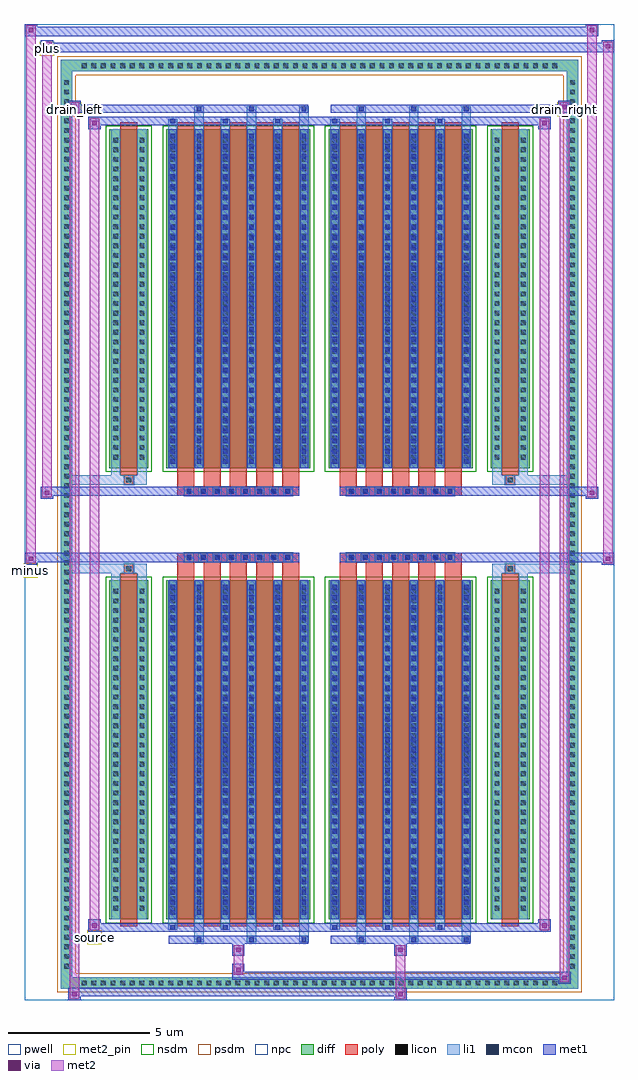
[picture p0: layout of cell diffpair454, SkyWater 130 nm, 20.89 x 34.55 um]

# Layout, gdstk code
import gdstk
lib = gdstk.Library(unit=1e-6, precision=5e-09)
def R(c, l, rs):  # rectangles x0, y0, x1, y1
    for r in rs: c.add(gdstk.rectangle(r[:2], r[2:], *l))
def A(c, l, x, y, w, h, nx, ny, dx, dy):  # array of equal rectangles
    R(c, l, [(x+i*dx, y+j*dy, x+i*dx+w, y+j*dy+h) for i in range(nx) for j in range(ny)])
def P(c, l, *ps):  # polygons
    for p in ps: c.add(gdstk.Polygon(p, *l))
pwell = (64, 44)
diff = (65, 20)
poly = (66, 20)
licon = (66, 44)
li1 = (67, 20)
mcon = (67, 44)
met1 = (68, 20)
via = (68, 44)
met2_pin = (69, 16)
met2 = (69, 20)
nsdm = (93, 44)
psdm = (94, 20)
npc = (95, 20)

diffpair454 = lib.new_cell('diffpair454')
R(diffpair454, pwell, [(-10.43,-16.84,10.43,17.71), (-7.75,-15.03,-0.01,-0.805), (0.01,-15.03,7.75,-0.805), (-7.75,0.805,-0.01,15.03), (0.01,0.805,7.75,15.03)])
A(diffpair454, diff, -8.535, -16.44, 0.41, 0.41, 50, 2, 0.34, 32.47)
A(diffpair454, diff, -9.16, -15.845, 0.41, 0.41, 1, 93, 0, 0.34)
A(diffpair454, diff, 8.75, -15.845, 0.41, 0.41, 1, 93, 0, 0.34)
R(diffpair454, diff, [(-8.535,-16.44,8.535,-16.03), (-9.16,-15.845,-8.75,15.845), (8.75,-15.845,9.16,15.845), (-7.44,-13.985,-6.06,-1.985), (-5.42,-13.985,-0.32,-1.985), (0.32,-13.985,5.42,-1.985), (6.06,-13.985,7.44,-1.985), (-7.44,1.985,-6.06,13.985), (-5.42,1.985,-0.32,13.985), (0.32,1.985,5.42,13.985), (6.06,1.985,7.44,13.985), (-8.535,16.03,8.535,16.44)])
P(diffpair454, diff, [(9.16,16.44),(-9.16,16.44),(-9.16,-16.03),(-8.75,-16.03),(-8.75,16.03),(8.75,16.03),(8.75,-16.03),(-8.75,-16.03),(-9.16,-16.03),(-9.16,-16.44),(9.16,-16.44)])
A(diffpair454, poly, -5.03, -14.235, 0.6, 12.5, 5, 2, 0.93, 15.97)
A(diffpair454, poly, 0.71, -14.235, 0.6, 12.5, 5, 2, 0.93, 15.97)
A(diffpair454, poly, -5.03, -1.735, 0.6, 0.4, 5, 2, 0.93, 3.07)
A(diffpair454, poly, 0.71, -1.735, 0.6, 0.4, 5, 2, 0.93, 3.07)
A(diffpair454, poly, -4.785, -1.335, 0.33, 0.33, 8, 2, 0.5, 2.34)
A(diffpair454, poly, 0.955, -1.335, 0.33, 0.33, 8, 2, 0.5, 2.34)
R(diffpair454, poly, [(-7.05,-14.235,-6.45,-1.735), (6.45,-14.235,7.05,-1.735), (-6.915,-1.735,-6.585,-1.405), (-6.915,-1.735,-6.585,-1.405), (6.585,-1.735,6.915,-1.405), (6.585,-1.735,6.915,-1.405), (-5.03,-1.335,-0.71,-1.005), (0.71,-1.335,5.03,-1.005), (-5.03,1.005,-0.71,1.335), (0.71,1.005,5.03,1.335), (-6.915,1.405,-6.585,1.735), (-6.915,1.405,-6.585,1.735), (6.585,1.405,6.915,1.735), (6.585,1.405,6.915,1.735), (-7.05,1.735,-6.45,14.235), (6.45,1.735,7.05,14.235)])
A(diffpair454, licon, -8.415, -16.32, 0.17, 0.17, 50, 2, 0.34, 32.47)
A(diffpair454, licon, -9.04, -15.725, 0.17, 0.17, 1, 93, 0, 0.34)
A(diffpair454, licon, 8.87, -15.725, 0.17, 0.17, 1, 93, 0, 0.34)
A(diffpair454, licon, -7.3, -13.68, 0.17, 0.17, 1, 34, 0, 0.34)
A(diffpair454, licon, -6.37, -13.68, 0.17, 0.17, 1, 34, 0, 0.34)
A(diffpair454, licon, -5.28, -13.68, 0.17, 0.17, 6, 34, 0.93, 0.34)
A(diffpair454, licon, 0.46, -13.68, 0.17, 0.17, 6, 34, 0.93, 0.34)
A(diffpair454, licon, 6.2, -13.68, 0.17, 0.17, 1, 34, 0, 0.34)
A(diffpair454, licon, 7.13, -13.68, 0.17, 0.17, 1, 34, 0, 0.34)
A(diffpair454, licon, -4.705, -1.255, 0.17, 0.17, 8, 2, 0.5, 2.34)
A(diffpair454, licon, 1.035, -1.255, 0.17, 0.17, 8, 2, 0.5, 2.34)
A(diffpair454, licon, -7.3, 2.29, 0.17, 0.17, 1, 34, 0, 0.34)
A(diffpair454, licon, -6.37, 2.29, 0.17, 0.17, 1, 34, 0, 0.34)
A(diffpair454, licon, -5.28, 2.29, 0.17, 0.17, 6, 34, 0.93, 0.34)
A(diffpair454, licon, 0.46, 2.29, 0.17, 0.17, 6, 34, 0.93, 0.34)
A(diffpair454, licon, 6.2, 2.29, 0.17, 0.17, 1, 34, 0, 0.34)
A(diffpair454, licon, 7.13, 2.29, 0.17, 0.17, 1, 34, 0, 0.34)
R(diffpair454, licon, [(-6.835,-1.655,-6.665,-1.485), (6.665,-1.655,6.835,-1.485), (-6.835,1.485,-6.665,1.655), (6.665,1.485,6.835,1.655)])
A(diffpair454, li1, -8.495, -16.4, 0.33, 0.33, 50, 2, 0.34, 32.47)
A(diffpair454, li1, -9.12, -15.805, 0.33, 0.33, 1, 93, 0, 0.34)
A(diffpair454, li1, 8.79, -15.805, 0.33, 0.33, 1, 93, 0, 0.34)
A(diffpair454, li1, -4.43, -14.79, 0.33, 0.805, 3, 2, 1.86, 28.775)
A(diffpair454, li1, -4.35, -14.79, 0.17, 0.17, 3, 2, 1.86, 29.41)
A(diffpair454, li1, 1.31, -14.79, 0.33, 0.805, 3, 2, 1.86, 28.775)
A(diffpair454, li1, 1.39, -14.79, 0.17, 0.17, 3, 2, 1.86, 29.41)
A(diffpair454, li1, -5.36, -14.36, 0.33, 0.375, 3, 2, 1.86, 28.345)
A(diffpair454, li1, -5.28, -14.36, 0.17, 0.17, 3, 2, 1.86, 28.55)
A(diffpair454, li1, 0.38, -14.36, 0.33, 0.375, 3, 2, 1.86, 28.345)
A(diffpair454, li1, 0.46, -14.36, 0.17, 0.17, 3, 2, 1.86, 28.55)
A(diffpair454, li1, -5.36, -13.985, 0.33, 12, 6, 2, 0.93, 15.97)
A(diffpair454, li1, 0.38, -13.985, 0.33, 12, 6, 2, 0.93, 15.97)
A(diffpair454, li1, -5.28, -13.83, 0.17, 0.17, 6, 33, 0.93, 0.36)
A(diffpair454, li1, -5.28, -13.83, 0.17, 11.69, 6, 2, 0.93, 15.97)
A(diffpair454, li1, 0.46, -13.83, 0.17, 0.17, 6, 33, 0.93, 0.36)
A(diffpair454, li1, 0.46, -13.83, 0.17, 11.69, 6, 2, 0.93, 15.97)
A(diffpair454, li1, -7.38, -13.76, 0.33, 0.33, 1, 34, 0, 0.34)
A(diffpair454, li1, -6.45, -13.76, 0.33, 0.33, 1, 34, 0, 0.34)
A(diffpair454, li1, -5.36, -13.76, 0.33, 0.33, 6, 34, 0.93, 0.34)
A(diffpair454, li1, 0.38, -13.76, 0.33, 0.33, 6, 34, 0.93, 0.34)
A(diffpair454, li1, 6.12, -13.76, 0.33, 0.33, 1, 34, 0, 0.34)
A(diffpair454, li1, 7.05, -13.76, 0.33, 0.33, 1, 34, 0, 0.34)
A(diffpair454, li1, -4.785, -1.335, 0.33, 0.33, 8, 2, 0.5, 2.34)
A(diffpair454, li1, 0.955, -1.335, 0.33, 0.33, 8, 2, 0.5, 2.34)
A(diffpair454, li1, -5.28, 2.14, 0.17, 0.17, 6, 33, 0.93, 0.36)
A(diffpair454, li1, 0.46, 2.14, 0.17, 0.17, 6, 33, 0.93, 0.36)
A(diffpair454, li1, -7.38, 2.21, 0.33, 0.33, 1, 34, 0, 0.34)
A(diffpair454, li1, -6.45, 2.21, 0.33, 0.33, 1, 34, 0, 0.34)
A(diffpair454, li1, -5.36, 2.21, 0.33, 0.33, 6, 34, 0.93, 0.34)
A(diffpair454, li1, 0.38, 2.21, 0.33, 0.33, 6, 34, 0.93, 0.34)
A(diffpair454, li1, 6.12, 2.21, 0.33, 0.33, 1, 34, 0, 0.34)
A(diffpair454, li1, 7.05, 2.21, 0.33, 0.33, 1, 34, 0, 0.34)
R(diffpair454, li1, [(-9.16,-16.44,-8.75,-16.03), (-9.16,-16.44,-8.75,-16.03), (-8.75,-16.44,8.75,-16.03), (8.75,-16.44,9.16,-16.03), (8.75,-16.44,9.16,-16.03), (-9.16,-16.03,-8.75,16.03), (8.75,-16.03,9.16,16.03), (-7.38,-13.985,-7.05,-1.985), (-6.45,-13.985,-6.12,-1.985), (6.12,-13.985,6.45,-1.985), (7.05,-13.985,7.38,-1.985), (-7.38,-1.985,-7.05,-1.405), (-6.45,-1.985,-6.12,-1.405), (6.12,-1.985,6.45,-1.405), (7.05,-1.985,7.38,-1.405), (-9.16,-1.735,-6.915,-1.405), (-7.38,-1.735,-6.915,-1.405), (-6.915,-1.735,-6.585,-1.405), (-6.585,-1.735,-6.12,-1.405), (6.12,-1.735,6.585,-1.405), (6.585,-1.735,6.915,-1.405), (6.585,-1.735,9.16,-1.405), (6.915,-1.735,7.38,-1.405), (-9.16,1.405,-6.915,1.735), (-7.38,1.405,-6.915,1.735), (-7.38,1.405,-7.05,1.985), (-6.915,1.405,-6.585,1.735), (-6.585,1.405,-6.12,1.735), (-6.45,1.405,-6.12,1.985), (6.12,1.405,6.585,1.735), (6.12,1.405,6.45,1.985), (6.585,1.405,6.915,1.735), (6.585,1.405,9.16,1.735), (6.915,1.405,7.38,1.735), (7.05,1.405,7.38,1.985), (-7.38,1.985,-7.05,13.985), (-6.45,1.985,-6.12,13.985), (6.12,1.985,6.45,13.985), (7.05,1.985,7.38,13.985), (-9.16,16.03,-8.75,16.44), (-9.16,16.03,-8.75,16.44), (-8.75,16.03,8.75,16.44), (8.75,16.03,9.16,16.44), (8.75,16.03,9.16,16.44)])
A(diffpair454, mcon, -4.35, -14.79, 0.17, 0.17, 3, 2, 1.86, 29.41)
A(diffpair454, mcon, 1.39, -14.79, 0.17, 0.17, 3, 2, 1.86, 29.41)
A(diffpair454, mcon, -5.28, -14.36, 0.17, 0.17, 3, 2, 1.86, 28.55)
A(diffpair454, mcon, 0.46, -14.36, 0.17, 0.17, 3, 2, 1.86, 28.55)
A(diffpair454, mcon, -5.28, -13.83, 0.17, 0.17, 6, 33, 0.93, 0.36)
A(diffpair454, mcon, 0.46, -13.83, 0.17, 0.17, 6, 33, 0.93, 0.36)
A(diffpair454, mcon, -4.705, -1.255, 0.17, 0.17, 8, 2, 0.5, 2.34)
A(diffpair454, mcon, 1.035, -1.255, 0.17, 0.17, 8, 2, 0.5, 2.34)
A(diffpair454, mcon, -5.28, 2.14, 0.17, 0.17, 6, 33, 0.93, 0.36)
A(diffpair454, mcon, 0.46, 2.14, 0.17, 0.17, 6, 33, 0.93, 0.36)
A(diffpair454, met1, -4.41, -14.85, 0.29, 0.29, 3, 2, 1.86, 29.41)
A(diffpair454, met1, 1.33, -14.85, 0.29, 0.29, 3, 2, 1.86, 29.41)
A(diffpair454, met1, -5.34, -14.42, 0.29, 0.29, 3, 2, 1.86, 28.55)
A(diffpair454, met1, 0.4, -14.42, 0.29, 0.29, 3, 2, 1.86, 28.55)
A(diffpair454, met1, -5.34, -13.985, 0.29, 12, 6, 2, 0.93, 15.97)
A(diffpair454, met1, 0.4, -13.985, 0.29, 12, 6, 2, 0.93, 15.97)
A(diffpair454, met1, -5.34, -13.89, 0.29, 0.29, 6, 33, 0.93, 0.36)
A(diffpair454, met1, 0.4, -13.89, 0.29, 0.29, 6, 33, 0.93, 0.36)
A(diffpair454, met1, -4.765, -1.315, 0.29, 0.29, 8, 2, 0.5, 2.34)
A(diffpair454, met1, 0.975, -1.315, 0.29, 0.29, 8, 2, 0.5, 2.34)
A(diffpair454, met1, -5.34, 2.08, 0.29, 0.29, 6, 33, 0.93, 0.36)
A(diffpair454, met1, 0.4, 2.08, 0.29, 0.29, 6, 33, 0.93, 0.36)
R(diffpair454, met1, [(-8.89,-16.84,-8.46,-16.41), (2.655,-16.84,3.085,-16.41), (-8.89,-16.7,3.085,-16.41), (8.46,-16.27,8.89,-15.84), (-3.085,-16.13,8.89,-15.84), (-3.085,-15.99,-2.655,-15.56), (-3.085,-15.28,-2.655,-14.85), (2.655,-15.28,3.085,-14.85), (-5.34,-14.85,-0.4,-14.56), (0.4,-14.85,5.34,-14.56), (-8.18,-14.42,-7.75,-13.99), (-8.18,-14.42,-5.34,-14.13), (-5.34,-14.42,-0.4,-14.13), (-0.4,-14.42,0.4,-14.13), (0.4,-14.42,5.34,-14.13), (5.34,-14.42,8.18,-14.13), (7.75,-14.42,8.18,-13.99), (-10.43,-1.435,-10,-1.005), (10,-1.435,10.43,-1.005), (-10.43,-1.335,-0.71,-1.005), (-5.03,-1.335,-0.71,-1.005), (0.71,-1.335,5.03,-1.005), (0.71,-1.335,10.43,-1.005), (-9.86,0.905,-9.43,1.335), (9.43,0.905,9.86,1.335), (-9.86,1.005,-5.03,1.335), (-5.03,1.005,-0.71,1.335), (0.71,1.005,5.03,1.335), (5.03,1.005,9.86,1.335), (-8.18,13.99,-7.75,14.42), (7.75,13.99,8.18,14.42), (-8.18,14.13,-5.34,14.42), (-5.34,14.13,-0.4,14.42), (-0.4,14.13,0.4,14.42), (0.4,14.13,5.34,14.42), (5.34,14.13,8.18,14.42), (-8.89,14.56,-8.46,14.99), (-8.89,14.56,-5.34,14.85), (-5.34,14.56,-0.4,14.85), (0.4,14.56,5.34,14.85), (5.34,14.56,8.89,14.85), (8.46,14.56,8.89,14.99), (-9.86,16.71,-9.43,17.14), (-9.86,16.71,-7.75,17.04), (-7.75,16.71,7.75,17.04), (7.75,16.71,10.43,17.04), (10,16.71,10.43,17.14), (-10.43,17.28,-10,17.71), (-10.43,17.28,-7.75,17.61), (-7.75,17.28,7.75,17.61), (7.75,17.28,9.86,17.61), (9.43,17.28,9.86,17.71)])
R(diffpair454, via, [(-8.75,-16.7,-8.6,-16.55), (2.795,-16.7,2.945,-16.55), (8.6,-16.13,8.75,-15.98), (-2.945,-15.85,-2.795,-15.7), (-2.945,-15.14,-2.795,-14.99), (2.795,-15.14,2.945,-14.99), (-8.04,-14.28,-7.89,-14.13), (7.89,-14.28,8.04,-14.13), (-10.29,-1.295,-10.14,-1.145), (10.14,-1.295,10.29,-1.145), (-9.72,1.045,-9.57,1.195), (9.57,1.045,9.72,1.195), (-8.04,14.13,-7.89,14.28), (7.89,14.13,8.04,14.28), (-8.75,14.7,-8.6,14.85), (8.6,14.7,8.75,14.85), (-9.72,16.85,-9.57,17), (10.14,16.85,10.29,17), (-10.29,17.42,-10.14,17.57), (9.57,17.42,9.72,17.57)])
R(diffpair454, met2_pin, [(-8.215,-14.87,-7.715,-14.37), (-10.465,-1.885,-9.965,-1.385), (-8.925,14.44,-8.425,14.94), (8.425,14.44,8.925,14.94), (-9.895,16.59,-9.395,17.09)])
R(diffpair454, met2, [(-8.84,-16.79,-8.51,-16.46), (-8.84,-16.79,-8.51,14.94), (2.705,-16.79,3.035,-16.46), (2.705,-16.46,3.035,-15.23), (8.51,-16.22,8.84,-15.89), (8.51,-16.22,8.84,14.94), (-3.035,-15.94,-2.705,-15.61), (-3.035,-15.61,-2.705,-15.23), (-3.035,-15.23,-2.705,-14.9), (2.705,-15.23,3.035,-14.9), (-8.13,-14.37,-7.8,-14.04), (-8.13,-14.37,-7.8,14.37), (7.8,-14.37,8.13,-14.04), (7.8,-14.37,8.13,14.37), (-10.38,-1.385,-10.05,-1.055), (-10.38,-1.385,-10.05,17.66), (10.05,-1.385,10.38,-1.055), (10.05,-1.385,10.38,17.09), (-9.81,0.955,-9.48,1.285), (-9.81,0.955,-9.48,17.09), (9.48,0.955,9.81,1.285), (9.48,0.955,9.81,17.66), (-8.13,14.04,-7.8,14.37), (7.8,14.04,8.13,14.37), (-8.84,14.61,-8.51,14.94), (8.51,14.61,8.84,14.94), (-9.81,16.76,-9.48,17.09), (10.05,16.76,10.38,17.09), (-10.38,17.33,-10.05,17.66), (9.48,17.33,9.81,17.66)])
P(diffpair454, met2, [(10.38,-1.385),(10.38,-1.385),(10.38,-1.055),(10.38,-1.055)],
  [(10.38,16.76),(10.38,16.76),(10.38,17.09),(10.38,17.09)],
  [(-10.05,-1.385),(-10.05,-1.385),(-10.05,-1.055),(-10.05,-1.055)],
  [(-10.05,17.33),(-10.05,17.33),(-10.05,17.66),(-10.05,17.66)],
  [(9.81,0.955),(9.81,0.955),(9.81,1.285),(9.81,1.285)],
  [(9.81,17.33),(9.81,17.33),(9.81,17.66),(9.81,17.66)],
  [(-9.48,0.955),(-9.48,0.955),(-9.48,1.285),(-9.48,1.285)],
  [(-9.48,16.76),(-9.48,16.76),(-9.48,17.09),(-9.48,17.09)],
  [(-8.51,-16.79),(-8.51,-16.79),(-8.51,-16.46),(-8.51,-16.46)],
  [(-8.51,14.61),(-8.51,14.61),(-8.51,14.94),(-8.51,14.94)],
  [(8.84,-16.22),(8.84,-16.22),(8.84,-15.89),(8.84,-15.89)],
  [(8.84,14.61),(8.84,14.61),(8.84,14.94),(8.84,14.94)],
  [(-7.8,-14.37),(-7.8,-14.37),(-7.8,-14.04),(-7.8,-14.04)],
  [(-7.8,14.04),(-7.8,14.04),(-7.8,14.37),(-7.8,14.37)],
  [(8.13,-14.37),(8.13,-14.37),(8.13,-14.04),(8.13,-14.04)],
  [(8.13,14.04),(8.13,14.04),(8.13,14.37),(8.13,14.37)])
R(diffpair454, nsdm, [(-7.57,-14.115,-5.93,-1.855), (-5.55,-14.115,-0.19,-1.855), (0.19,-14.115,5.55,-1.855), (5.93,-14.115,7.57,-1.855), (-7.57,1.855,-5.93,14.115), (-5.55,1.855,-0.19,14.115), (0.19,1.855,5.55,14.115), (5.93,1.855,7.57,14.115)])
P(diffpair454, psdm, [(9.29,16.57),(-9.29,16.57),(-9.29,-15.9),(-8.62,-15.9),(-8.62,15.9),(8.62,15.9),(8.62,-15.9),(-8.62,-15.9),(-9.29,-15.9),(-9.29,-16.57),(9.29,-16.57)])
A(diffpair454, npc, -4.805, -1.355, 0.37, 0.37, 8, 2, 0.5, 2.34)
A(diffpair454, npc, 0.935, -1.355, 0.37, 0.37, 8, 2, 0.5, 2.34)
R(diffpair454, npc, [(-6.935,-1.755,-6.565,-1.385), (6.565,-1.755,6.935,-1.385), (-4.805,-1.355,-3.935,-0.985), (-4.805,-1.355,-3.935,-0.985), (-4.305,-1.355,-3.435,-0.985), (-4.305,-1.355,-3.435,-0.985), (-3.805,-1.355,-2.935,-0.985), (-3.805,-1.355,-2.935,-0.985), (-3.305,-1.355,-2.435,-0.985), (-3.305,-1.355,-2.435,-0.985), (-2.805,-1.355,-1.935,-0.985), (-2.805,-1.355,-1.935,-0.985), (-2.305,-1.355,-1.435,-0.985), (-2.305,-1.355,-1.435,-0.985), (-1.805,-1.355,-0.935,-0.985), (-1.805,-1.355,-0.935,-0.985), (0.935,-1.355,1.805,-0.985), (0.935,-1.355,1.805,-0.985), (1.435,-1.355,2.305,-0.985), (1.435,-1.355,2.305,-0.985), (1.935,-1.355,2.805,-0.985), (1.935,-1.355,2.805,-0.985), (2.435,-1.355,3.305,-0.985), (2.435,-1.355,3.305,-0.985), (2.935,-1.355,3.805,-0.985), (2.935,-1.355,3.805,-0.985), (3.435,-1.355,4.305,-0.985), (3.435,-1.355,4.305,-0.985), (3.935,-1.355,4.805,-0.985), (3.935,-1.355,4.805,-0.985), (-4.805,0.985,-3.935,1.355), (-4.805,0.985,-3.935,1.355), (-4.305,0.985,-3.435,1.355), (-4.305,0.985,-3.435,1.355), (-3.805,0.985,-2.935,1.355), (-3.805,0.985,-2.935,1.355), (-3.305,0.985,-2.435,1.355), (-3.305,0.985,-2.435,1.355), (-2.805,0.985,-1.935,1.355), (-2.805,0.985,-1.935,1.355), (-2.305,0.985,-1.435,1.355), (-2.305,0.985,-1.435,1.355), (-1.805,0.985,-0.935,1.355), (-1.805,0.985,-0.935,1.355), (0.935,0.985,1.805,1.355), (0.935,0.985,1.805,1.355), (1.435,0.985,2.305,1.355), (1.435,0.985,2.305,1.355), (1.935,0.985,2.805,1.355), (1.935,0.985,2.805,1.355), (2.435,0.985,3.305,1.355), (2.435,0.985,3.305,1.355), (2.935,0.985,3.805,1.355), (2.935,0.985,3.805,1.355), (3.435,0.985,4.305,1.355), (3.435,0.985,4.305,1.355), (3.935,0.985,4.805,1.355), (3.935,0.985,4.805,1.355), (-6.935,1.385,-6.565,1.755), (6.565,1.385,6.935,1.755)])
diffpair454.add(gdstk.Label('minus', (-10.215,-1.635), layer=69, texttype=5))
diffpair454.add(gdstk.Label('drain_right', (8.675,14.69), layer=69, texttype=5))
diffpair454.add(gdstk.Label('drain_left', (-8.675,14.69), layer=69, texttype=5))
diffpair454.add(gdstk.Label('source', (-7.965,-14.62), layer=69, texttype=5))
diffpair454.add(gdstk.Label('plus', (-9.645,16.84), layer=69, texttype=5))

lib.write_gds('diffpair454.gds')
